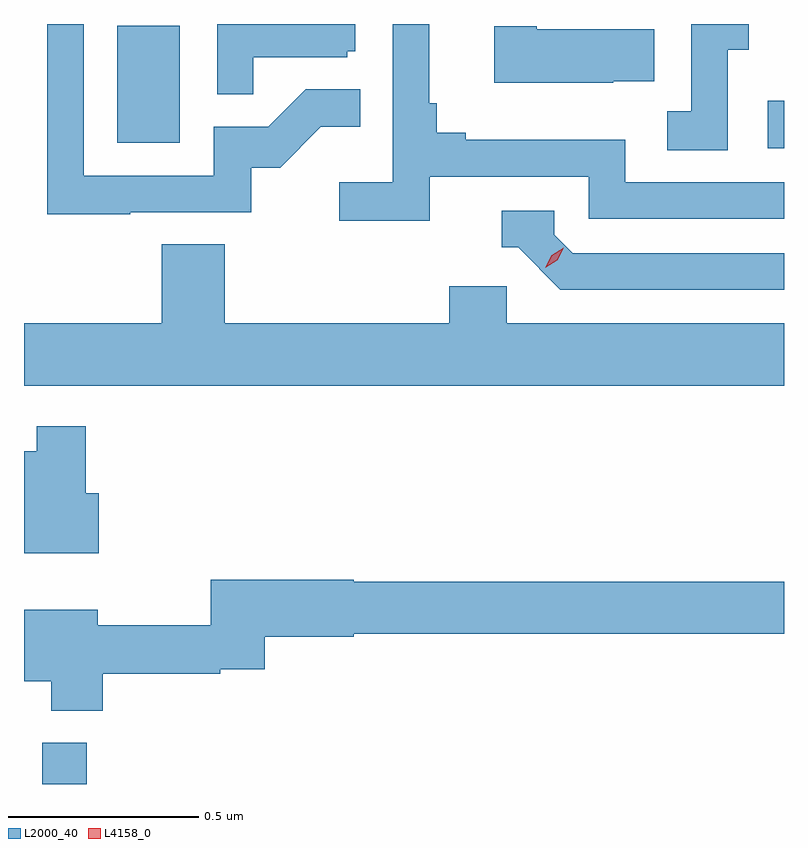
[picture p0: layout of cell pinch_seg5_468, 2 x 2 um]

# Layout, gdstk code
import gdstk
lib = gdstk.Library(unit=1e-6, precision=1e-09)
def R(c, l, rs):  # rectangles x0, y0, x1, y1
    for r in rs: c.add(gdstk.rectangle(r[:2], r[2:], *l))
def P(c, l, *ps):  # polygons
    for p in ps: c.add(gdstk.Polygon(p, *l))
L2000_40 = (2000, 40)
L4158_0 = (4158, 0)

pinch_seg5_468 = lib.new_cell('pinch_seg5_468')
R(pinch_seg5_468, L2000_40, [(945.23,859.708,945.347,859.816), (947.139,861.381,947.182,861.506), (945.428,861.396,945.592,861.703)])
P(pinch_seg5_468, L2000_40, [(947.034,861.64),(947.089,861.64),(947.089,861.708),(946.938,861.708),(946.938,861.479),(946.875,861.479),(946.875,861.376),(947.034,861.376)],
  [(946.25,861.306),(946.668,861.306),(946.668,861.195),(947.182,861.195),(947.182,861.291),(946.764,861.291),(946.764,861.403),(946.345,861.403),(946.345,861.422),(946.268,861.422),(946.268,861.499),(946.249,861.499),(946.249,861.708),(946.152,861.708),(946.152,861.292),(946.011,861.292),(946.011,861.19),(946.25,861.19)],
  [(945.785,861.621),(946.032,861.621),(946.032,861.636),(946.054,861.636),(946.054,861.708),(945.69,861.708),(945.69,861.523),(945.785,861.523)],
  [(945.461,861.213),(945.78,861.213),(945.78,861.33),(945.856,861.33),(945.963,861.437),(946.067,861.437),(946.067,861.536),(945.923,861.536),(945.825,861.438),(945.681,861.438),(945.681,861.309),(945.339,861.309),(945.339,861.708),(945.243,861.708),(945.243,861.208),(945.461,861.208)],
  [(946.733,861.557),(946.841,861.557),(946.841,861.694),(946.531,861.694),(946.531,861.702),(946.419,861.702),(946.419,861.554),(946.733,861.554)],
  [(947.182,861.105),(946.626,861.105),(946.578,861.153),(946.578,861.216),(946.439,861.216),(946.439,861.12),(946.482,861.12),(946.593,861.009),(947.182,861.009)],
  [(947.182,860.92),(946.452,860.92),(946.452,861.018),(946.301,861.018),(946.301,860.92),(945.71,860.92),(945.71,861.128),(945.545,861.128),(945.545,860.92),(945.182,860.92),(945.182,860.756),(947.182,860.756)],
  [(945.379,860.473),(945.344,860.473),(945.344,860.65),(945.216,860.65),(945.216,860.584),(945.182,860.584),(945.182,860.315),(945.379,860.315)],
  [(945.389,859.998),(945.698,859.998),(945.698,860.01),(945.815,860.01),(945.815,860.096),(946.05,860.096),(946.05,860.104),(947.182,860.104),(947.182,860.24),(946.05,860.24),(946.05,860.246),(945.674,860.246),(945.674,860.126),(945.376,860.126),(945.376,860.167),(945.182,860.167),(945.182,859.979),(945.254,859.979),(945.254,859.901),(945.389,859.901)])
P(pinch_seg5_468, L4158_0, [(946.554,861.067),(946.554,861.067),(946.571,861.1),(946.602,861.119),(946.602,861.119),(946.602,861.119),(946.585,861.086),(946.554,861.067)])

lib.write_gds('pinch_seg5_468.gds')
